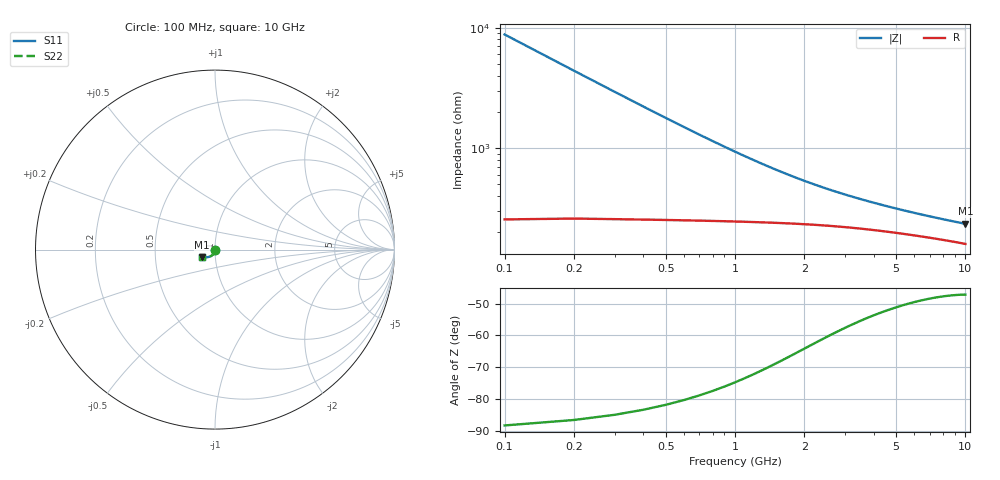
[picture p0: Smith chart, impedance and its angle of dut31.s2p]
! Touchstone file exported from HFSS 2024.1.0
!  File:  C:/UserFiles/LocalFiles/RDL_TSV_Batchsim/temp_TSV1_31_1778764007.aedt
!  Generated:  09:10:45 PM May 14, 2026
!  Design:  TSV1
!  Project:  temp_TSV1_31_1778764007
!  Setup:  Setup1
!  Solution:  Sweep
! Variables:
!  dtsv = 19.65um
!  hbump = 3um
!  htsv = 76.1um
!  lrdl = 252.1521522um
!  p = 40
!  p1 = 52.89um
!  t = 500um
!  trdl = 3um
!  wrdl = 24.89489489um
# GHz S MA R 50.000000
! Terminal data exported
! Port[1] = TSV22_T1
! Port[2] = TSV22_T2
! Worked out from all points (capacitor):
!   100 points, 100 MHz to 10 GHz, reference 50 ohm
!   read as one part in shunt: C = 181 fF near 100 MHz
!   lowest |Z| = 236 ohm at 10 GHz (marker M1)
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0.1  0.002536 -90.3  0.9998 -0.2  0.9998 -0.2  0.002536 -90.3
! Gamma 0 0 0 0
! Port Impedance 50 0 50 0
0.2  0.005084 -93.2  0.9996 -0.4  0.9996 -0.4  0.005084 -93.2
0.3  0.007609 -95.3  0.9991 -0.5  0.9991 -0.5  0.007609 -95.3
0.4  0.0101 -97.3  0.9985 -0.7  0.9985 -0.7  0.0101 -97.3
0.5  0.01255 -99.2  0.9978 -0.9  0.9978 -0.9  0.01255 -99.2
0.6  0.01494 -101.0  0.9969 -1.0  0.9969 -1.0  0.01494 -101.0
0.7  0.01728 -102.8  0.9959 -1.2  0.9959 -1.2  0.01728 -102.8
0.8  0.01955 -104.6  0.9949 -1.3  0.9949 -1.3  0.01955 -104.6
0.9  0.02175 -106.3  0.9937 -1.5  0.9937 -1.5  0.02175 -106.3
1.1  0.02592 -109.5  0.9912 -1.8  0.9912 -1.8  0.02592 -109.5
1.4  0.03161 -113.9  0.9872 -2.1  0.9872 -2.1  0.03161 -113.9
1.6  0.03502 -116.5  0.9844 -2.3  0.9844 -2.3  0.03502 -116.5
1.8  0.03815 -118.9  0.9817 -2.5  0.9817 -2.5  0.03815 -118.9
2.1  0.04236 -122.1  0.9777 -2.7  0.9777 -2.7  0.04236 -122.1
2.5  0.04719 -125.8  0.9728 -3.0  0.9728 -3.0  0.04719 -125.8
2.9  0.0513 -128.9  0.9683 -3.2  0.9683 -3.2  0.0513 -128.9
3.4  0.05568 -132.1  0.9633 -3.5  0.9633 -3.5  0.05568 -132.1
4.2  0.06141 -136.0  0.9566 -3.8  0.9566 -3.8  0.06141 -136.0
5.1  0.06656 -139.4  0.9504 -4.2  0.9504 -4.2  0.06656 -139.4
6.7  0.07352 -143.7  0.9419 -4.7  0.9419 -4.7  0.07352 -143.7
8.4  0.07893 -146.9  0.9352 -5.2  0.9352 -5.2  0.07893 -146.9
10  0.08282 -149.0  0.9305 -5.7  0.9305 -5.7  0.08282 -149.0
